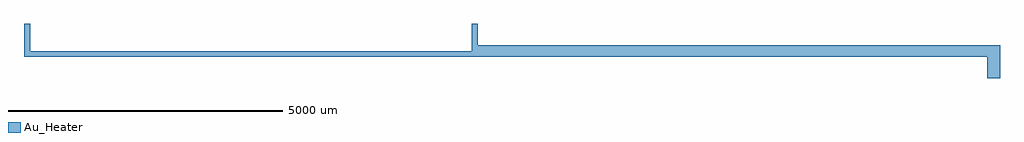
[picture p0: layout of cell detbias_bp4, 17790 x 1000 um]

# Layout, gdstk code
import gdstk
lib = gdstk.Library(unit=1e-6, precision=1e-09)
def P(c, l, *ps):  # polygons
    for p in ps: c.add(gdstk.Polygon(p, *l))
Au_Heater = (9, 0)

detbias_bp4 = lib.new_cell('detbias_bp4')
P(detbias_bp4, Au_Heater, [(38102.5,53750),(38102.5,54252),(28587.5,54252),(28587.5,54750),(28592.5,54750),(28592.5,54257),(38107.5,54257),(38107.5,53750)],
  [(38112.5,53750),(38112.5,54261),(28597.5,54261),(28597.5,54750),(28602.5,54750),(28602.5,54266),(38117.5,54266),(38117.5,53750)],
  [(38122.5,53750),(38122.5,54270),(28607.5,54270),(28607.5,54750),(28612.5,54750),(28612.5,54275),(38127.5,54275),(38127.5,53750)],
  [(38132.5,53750),(38132.5,54279),(28617.5,54279),(28617.5,54750),(28622.5,54750),(28622.5,54284),(38137.5,54284),(38137.5,53750)],
  [(38142.5,53750),(38142.5,54288),(28627.5,54288),(28627.5,54750),(28632.5,54750),(28632.5,54293),(38147.5,54293),(38147.5,53750)],
  [(38152.5,53750),(38152.5,54297),(28637.5,54297),(28637.5,54750),(28642.5,54750),(28642.5,54302),(38157.5,54302),(38157.5,53750)],
  [(38162.5,53750),(38162.5,54306),(28647.5,54306),(28647.5,54750),(28652.5,54750),(28652.5,54311),(38167.5,54311),(38167.5,53750)],
  [(38172.5,53750),(38172.5,54315),(28657.5,54315),(28657.5,54750),(28662.5,54750),(28662.5,54320),(38177.5,54320),(38177.5,53750)],
  [(38182.5,53750),(38182.5,54324),(28667.5,54324),(28667.5,54750),(28672.5,54750),(28672.5,54329),(38187.5,54329),(38187.5,53750)],
  [(38192.5,53750),(38192.5,54333),(28677.5,54333),(28677.5,54750),(28682.5,54750),(28682.5,54338),(38197.5,54338),(38197.5,53750)],
  [(38202.5,53750),(38202.5,54342),(28687.5,54342),(28687.5,54750),(28692.5,54750),(28692.5,54347),(38207.5,54347),(38207.5,53750)],
  [(38212.5,53750),(38212.5,54351),(28697.5,54351),(28697.5,54750),(28702.5,54750),(28702.5,54356),(38217.5,54356),(38217.5,53750)],
  [(37982.5,53750),(37982.5,54144),(20427.5,54144),(20427.5,54750),(20432.5,54750),(20432.5,54149),(37987.5,54149),(37987.5,53750)],
  [(37992.5,53750),(37992.5,54153),(20437.5,54153),(20437.5,54750),(20442.5,54750),(20442.5,54158),(37997.5,54158),(37997.5,53750)],
  [(38002.5,53750),(38002.5,54162),(20447.5,54162),(20447.5,54750),(20452.5,54750),(20452.5,54167),(38007.5,54167),(38007.5,53750)],
  [(38012.5,53750),(38012.5,54171),(20457.5,54171),(20457.5,54750),(20462.5,54750),(20462.5,54176),(38017.5,54176),(38017.5,53750)],
  [(38022.5,53750),(38022.5,54180),(20467.5,54180),(20467.5,54750),(20472.5,54750),(20472.5,54185),(38027.5,54185),(38027.5,53750)],
  [(38032.5,53750),(38032.5,54189),(20477.5,54189),(20477.5,54750),(20482.5,54750),(20482.5,54194),(38037.5,54194),(38037.5,53750)],
  [(38042.5,53750),(38042.5,54198),(20487.5,54198),(20487.5,54750),(20492.5,54750),(20492.5,54203),(38047.5,54203),(38047.5,53750)],
  [(38052.5,53750),(38052.5,54207),(20497.5,54207),(20497.5,54750),(20502.5,54750),(20502.5,54212),(38057.5,54212),(38057.5,53750)],
  [(38062.5,53750),(38062.5,54216),(20507.5,54216),(20507.5,54750),(20512.5,54750),(20512.5,54221),(38067.5,54221),(38067.5,53750)],
  [(38072.5,53750),(38072.5,54225),(20517.5,54225),(20517.5,54750),(20522.5,54750),(20522.5,54230),(38077.5,54230),(38077.5,53750)],
  [(38082.5,53750),(38082.5,54234),(20527.5,54234),(20527.5,54750),(20532.5,54750),(20532.5,54239),(38087.5,54239),(38087.5,53750)],
  [(38092.5,53750),(38092.5,54243),(20537.5,54243),(20537.5,54750),(20542.5,54750),(20542.5,54248),(38097.5,54248),(38097.5,53750)])

lib.write_gds('detbias_bp4.gds')
